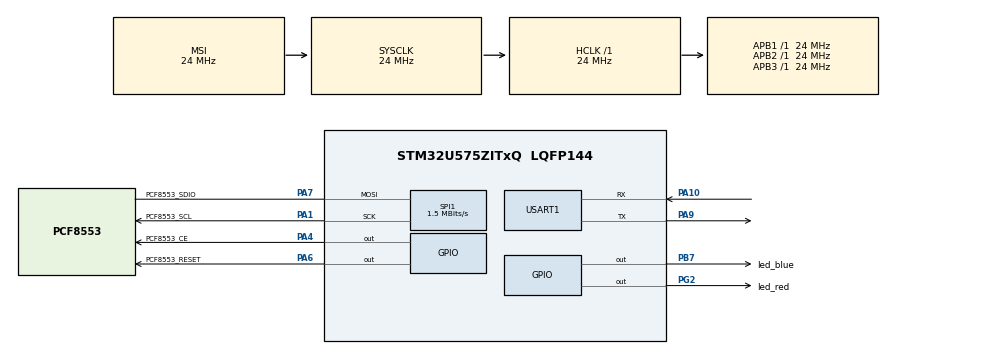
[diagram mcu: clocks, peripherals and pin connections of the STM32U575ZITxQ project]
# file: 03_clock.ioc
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CORTEX_M33_NS.userName=CORTEX_M33
Mcu.Family=STM32U5
Mcu.Name=STM32U575ZITxQ
Mcu.Package=LQFP144
NVIC.PriorityGroup=NVIC_PRIORITYGROUP_4
NVIC.TIM6_IRQn=true\:15\:0\:false\:false\:true\:false\:true\:true
NVIC.TimeBase=TIM6_IRQn
NVIC.TimeBaseIP=TIM6
PA1.GPIO_Label=PCF8553_SCL
PA1.Mode=Simplex_Bidirectional_Master
PA1.Signal=SPI1_SCK
PA10.Mode=Asynchronous
PA10.Signal=USART1_RX
PA4.GPIO_Label=PCF8553_CE
PA4.Signal=GPIO_Output
PA6.GPIO_Label=PCF8553_RESET
PA6.Signal=GPIO_Output
PA7.GPIO_Label=PCF8553_SDIO
PA7.Mode=Simplex_Bidirectional_Master
PA7.Signal=SPI1_MOSI
PA9.Mode=Asynchronous
PA9.Signal=USART1_TX
PB7.GPIO_Label=led_blue
PB7.Signal=GPIO_Output
PC14-OSC32_IN\ (PC14).Mode=LSE-External-Oscillator
PC14-OSC32_IN\ (PC14).Signal=RCC_OSC32_IN
PC15-OSC32_OUT\ (PC15).Mode=LSE-External-Oscillator
PC15-OSC32_OUT\ (PC15).Signal=RCC_OSC32_OUT
PG2.GPIO_Label=led_red
PG2.Signal=GPIO_Output
PWR.PowerMode=PWR_SMPS_SUPPLY
ProjectManager.HeapSize=0x200
ProjectManager.StackSize=0x400
ProjectManager.TargetToolchain=STM32CubeIDE
RCC.ADCFreq_Value=16000000
RCC.AHBFreq_Value=24000000
RCC.APB1Freq_Value=24000000
RCC.APB1TimFreq_Value=24000000
RCC.APB2Freq_Value=24000000
RCC.APB2TimFreq_Value=24000000
RCC.APB3Freq_Value=24000000
RCC.CortexFreq_Value=24000000
RCC.EPOD_VALUE=24000000
RCC.HCLKFreq_Value=24000000
RCC.HSE_VALUE=16000000
RCC.HSI48_VALUE=48000000
RCC.HSI_VALUE=16000000
RCC.LSIDIV_VALUE=32000
RCC.MSIClockRange=RCC_MSIRANGE_1
RCC.MSI_VALUE=24000000
RCC.SYSCLKFreq_VALUE=24000000
RCC.USBFreq_Value=48000000
RCC.VCOOutputFreq_Value=3096000000
RTC.Date=22
RTC.Format=RTC_FORMAT_BIN
RTC.Hours=9
RTC.Month=RTC_MONTH_MAY
RTC.WeekDay=RTC_WEEKDAY_MONDAY
RTC.Year=23
SPI1.BaudRatePrescaler=SPI_BAUDRATEPRESCALER_16
SPI1.CalculateBaudRate=1.5 MBits/s
SPI1.DataSize=SPI_DATASIZE_8BIT
SPI1.Direction=SPI_DIRECTION_1LINE
SPI1.Mode=SPI_MODE_MASTER
SPI1.NSSPMode=SPI_NSS_PULSE_DISABLE
SPI1.VirtualType=VM_MASTER
USART1.VirtualMode-Asynchronous=VM_ASYNC
VP_ICACHE_VS_ICACHE.Mode=DirectMappedCache
VP_PWR_VS_DBSignals.Mode=DisableDeadBatterySignals
VP_PWR_VS_LPOM.Mode=PowerOptimisation
VP_RTC_VS_RTC_Activate.Mode=RTC_Enabled
VP_RTC_VS_RTC_Calendar.Mode=RTC_Calendar
VP_SYS_VS_tim6.Mode=TIM6
board=custom

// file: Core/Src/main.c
/* USER CODE BEGIN Header */
/**
  ******************************************************************************
  * @file           : main.c
  * @brief          : Main program body
  ******************************************************************************
  * @attention
  *
  * Copyright (c) 2023 STMicroelectronics.
  * All rights reserved.
  *
  * This software is licensed under terms that can be found in the LICENSE file
  * in the root directory of this software component.
  * If no LICENSE file comes with this software, it is provided AS-IS.
  *
  ******************************************************************************
  */
/* USER CODE END Header */
#include "main.h"

/* USER CODE BEGIN Includes */
#include "string.h"
#include "stdio.h"
#include "../../lcd_libs/fm_lcd/fm_lcd.h"
#include "../../fm_calendar/fm_calendar.h"
/* USER CODE END Includes */

RTC_HandleTypeDef hrtc;

SPI_HandleTypeDef hspi1;

UART_HandleTypeDef huart1;

void SystemClock_Config(void);
static void SystemPower_Config(void);
static void MX_GPIO_Init(void);
static void MX_ICACHE_Init(void);
static void MX_RTC_Init(void);
static void MX_SPI1_Init(void);
static void MX_USART1_UART_Init(void);

int main(void)
{

  /* MCU Configuration--------------------------------------------------------*/

  /* Reset of all peripherals, Initializes the Flash interface and the Systick. */
  HAL_Init();

  /* Configure the system clock */
  SystemClock_Config();

  /* Configure the System Power */
  SystemPower_Config();

  /* Initialize all configured peripherals */
  MX_GPIO_Init();
  MX_ICACHE_Init();
  MX_RTC_Init();
  MX_SPI1_Init();
  MX_USART1_UART_Init();
  /* USER CODE BEGIN 2 */

  char date_string[20]; // @suppress("Avoid magic numbers")
  char time_string[20]; // @suppress("Avoid magic numbers")

  fm_lcd_init();
  fm_lcd_clear();

  RTC_TimeTypeDef stime_config;
  RTC_DateTypeDef sdate_config;

  int first_time = 1;

  /* USER CODE END 2 */

  /* Infinite loop */
  /* USER CODE BEGIN WHILE */
  while (1)
  {
      if(first_time == 1)
      {
          sdate_config.Date = 29;
          sdate_config.Month = 5;
          sdate_config.Year = 23;
          sdate_config.WeekDay = RTC_WEEKDAY_FRIDAY;

          fm_calendar_modify_date(sdate_config);

          stime_config.Hours = 12;
          stime_config.Minutes = 36;
          stime_config.Seconds = 1;
          stime_config.SecondFraction = 0;
          stime_config.DayLightSaving = RTC_DAYLIGHTSAVING_NONE;
          stime_config.StoreOperation = RTC_STOREOPERATION_RESET;
          stime_config.SubSeconds = 0;
          stime_config.TimeFormat = RTC_HOURFORMAT12_AM;

          fm_calendar_modify_time(stime_config);

          first_time = 0;
      }

      fm_calendar_format_time(time_string, strlen(time_string));
      fm_calendar_format_date(date_string, strlen(date_string));

      fm_lcd_puts_rows(date_string, HIGH_ROW);
      fm_lcd_puts_rows(time_string, LOW_ROW);

      lcd_set_point(HIGH_ROW, PNT_3);
      lcd_set_point(HIGH_ROW, PNT_1);
      lcd_set_point(LOW_ROW, PNT_3);
      lcd_set_point(LOW_ROW, PNT_1);

      fm_lcd_refresh();

      HAL_Delay(1000); // @suppress("Avoid magic numbers")

    /* USER CODE END WHILE */

  }
}

void SystemClock_Config(void)
{
  RCC_OscInitTypeDef RCC_OscInitStruct = {0};
  RCC_ClkInitTypeDef RCC_ClkInitStruct = {0};

  /** Configure the main internal regulator output voltage
  */
  if (HAL_PWREx_ControlVoltageScaling(PWR_REGULATOR_VOLTAGE_SCALE4) != HAL_OK)
  {
    Error_Handler();
  }

  /** Initializes the CPU, AHB and APB buses clocks
  */
  RCC_OscInitStruct.OscillatorType = RCC_OSCILLATORTYPE_LSI|RCC_OSCILLATORTYPE_MSI;
  RCC_OscInitStruct.LSIState = RCC_LSI_ON;
  RCC_OscInitStruct.MSIState = RCC_MSI_ON;
  RCC_OscInitStruct.MSICalibrationValue = RCC_MSICALIBRATION_DEFAULT;
  RCC_OscInitStruct.MSIClockRange = RCC_MSIRANGE_1;
  RCC_OscInitStruct.LSIDiv = RCC_LSI_DIV1;
  RCC_OscInitStruct.PLL.PLLState = RCC_PLL_NONE;
  if (HAL_RCC_OscConfig(&RCC_OscInitStruct) != HAL_OK)
  {
    Error_Handler();
  }

  /** Initializes the CPU, AHB and APB buses clocks
  */
  RCC_ClkInitStruct.ClockType = RCC_CLOCKTYPE_HCLK|RCC_CLOCKTYPE_SYSCLK
                              |RCC_CLOCKTYPE_PCLK1|RCC_CLOCKTYPE_PCLK2
                              |RCC_CLOCKTYPE_PCLK3;
  RCC_ClkInitStruct.SYSCLKSource = RCC_SYSCLKSOURCE_MSI;
  RCC_ClkInitStruct.AHBCLKDivider = RCC_SYSCLK_DIV1;
  RCC_ClkInitStruct.APB1CLKDivider = RCC_HCLK_DIV1;
  RCC_ClkInitStruct.APB2CLKDivider = RCC_HCLK_DIV1;
  RCC_ClkInitStruct.APB3CLKDivider = RCC_HCLK_DIV1;

  if (HAL_RCC_ClockConfig(&RCC_ClkInitStruct, FLASH_LATENCY_1) != HAL_OK)
  {
    Error_Handler();
  }
}

/**
  * @brief Power Configuration
  * @retval None
  */
static void SystemPower_Config(void)
{
  HAL_PWREx_EnableVddIO2();

  /*
   * Disable the internal Pull-Up in Dead Battery pins of UCPD peripheral
   */
  HAL_PWREx_DisableUCPDDeadBattery();

  /*
   * Switch to SMPS regulator instead of LDO
   */
  if (HAL_PWREx_ConfigSupply(PWR_SMPS_SUPPLY) != HAL_OK)
  {
    Error_Handler();
  }
}

static void MX_ICACHE_Init(void)
{

  /** Enable instruction cache in 1-way (direct mapped cache)
  */
  if (HAL_ICACHE_ConfigAssociativityMode(ICACHE_1WAY) != HAL_OK)
  {
    Error_Handler();
  }
  if (HAL_ICACHE_Enable() != HAL_OK)
  {
    Error_Handler();
  }

}

static void MX_RTC_Init(void)
{

  RTC_PrivilegeStateTypeDef privilegeState = {0};
  RTC_TimeTypeDef sTime = {0};
  RTC_DateTypeDef sDate = {0};

  /** Initialize RTC Only
  */
  hrtc.Instance = RTC;
  hrtc.Init.HourFormat = RTC_HOURFORMAT_24;
  hrtc.Init.AsynchPrediv = 127;
  hrtc.Init.SynchPrediv = 255;
  hrtc.Init.OutPut = RTC_OUTPUT_DISABLE;
  hrtc.Init.OutPutRemap = RTC_OUTPUT_REMAP_NONE;
  hrtc.Init.OutPutPolarity = RTC_OUTPUT_POLARITY_HIGH;
  hrtc.Init.OutPutType = RTC_OUTPUT_TYPE_OPENDRAIN;
  hrtc.Init.OutPutPullUp = RTC_OUTPUT_PULLUP_NONE;
  hrtc.Init.BinMode = RTC_BINARY_NONE;
  if (HAL_RTC_Init(&hrtc) != HAL_OK)
  {
    Error_Handler();
  }
  privilegeState.rtcPrivilegeFull = RTC_PRIVILEGE_FULL_NO;
  privilegeState.backupRegisterPrivZone = RTC_PRIVILEGE_BKUP_ZONE_NONE;
  privilegeState.backupRegisterStartZone2 = RTC_BKP_DR0;
  privilegeState.backupRegisterStartZone3 = RTC_BKP_DR0;
  if (HAL_RTCEx_PrivilegeModeSet(&hrtc, &privilegeState) != HAL_OK)
  {
    Error_Handler();
  }

  /** Initialize RTC and set the Time and Date
  */
  sTime.Hours = 9;
  sTime.Minutes = 0;
  sTime.Seconds = 0;
  sTime.DayLightSaving = RTC_DAYLIGHTSAVING_NONE;
  sTime.StoreOperation = RTC_STOREOPERATION_RESET;
  if (HAL_RTC_SetTime(&hrtc, &sTime, RTC_FORMAT_BIN) != HAL_OK)
  {
    Error_Handler();
  }
  sDate.WeekDay = RTC_WEEKDAY_MONDAY;
  sDate.Month = RTC_MONTH_MAY;
  sDate.Date = 22;
  sDate.Year = 23;

  if (HAL_RTC_SetDate(&hrtc, &sDate, RTC_FORMAT_BIN) != HAL_OK)
  {
    Error_Handler();
  }

}

static void MX_SPI1_Init(void)
{

  SPI_AutonomousModeConfTypeDef HAL_SPI_AutonomousMode_Cfg_Struct = {0};

  /* SPI1 parameter configuration*/
  hspi1.Instance = SPI1;
  hspi1.Init.Mode = SPI_MODE_MASTER;
  hspi1.Init.Direction = SPI_DIRECTION_1LINE;
  hspi1.Init.DataSize = SPI_DATASIZE_8BIT;
  hspi1.Init.CLKPolarity = SPI_POLARITY_LOW;
  hspi1.Init.CLKPhase = SPI_PHASE_1EDGE;
  hspi1.Init.NSS = SPI_NSS_SOFT;
  hspi1.Init.BaudRatePrescaler = SPI_BAUDRATEPRESCALER_16;
  hspi1.Init.FirstBit = SPI_FIRSTBIT_MSB;
  hspi1.Init.TIMode = SPI_TIMODE_DISABLE;
  hspi1.Init.CRCCalculation = SPI_CRCCALCULATION_DISABLE;
  hspi1.Init.CRCPolynomial = 0x7;
  hspi1.Init.NSSPMode = SPI_NSS_PULSE_DISABLE;
  hspi1.Init.NSSPolarity = SPI_NSS_POLARITY_LOW;
  hspi1.Init.FifoThreshold = SPI_FIFO_THRESHOLD_01DATA;
  hspi1.Init.MasterSSIdleness = SPI_MASTER_SS_IDLENESS_00CYCLE;
  hspi1.Init.MasterInterDataIdleness = SPI_MASTER_INTERDATA_IDLENESS_00CYCLE;
  hspi1.Init.MasterReceiverAutoSusp = SPI_MASTER_RX_AUTOSUSP_DISABLE;
  hspi1.Init.MasterKeepIOState = SPI_MASTER_KEEP_IO_STATE_DISABLE;
  hspi1.Init.IOSwap = SPI_IO_SWAP_DISABLE;
  hspi1.Init.ReadyMasterManagement = SPI_RDY_MASTER_MANAGEMENT_INTERNALLY;
  hspi1.Init.ReadyPolarity = SPI_RDY_POLARITY_HIGH;
  if (HAL_SPI_Init(&hspi1) != HAL_OK)
  {
    Error_Handler();
  }
  HAL_SPI_AutonomousMode_Cfg_Struct.TriggerState = SPI_AUTO_MODE_DISABLE;
  HAL_SPI_AutonomousMode_Cfg_Struct.TriggerSelection = SPI_GRP1_GPDMA_CH0_TCF_TRG;
  HAL_SPI_AutonomousMode_Cfg_Struct.TriggerPolarity = SPI_TRIG_POLARITY_RISING;
  if (HAL_SPIEx_SetConfigAutonomousMode(&hspi1, &HAL_SPI_AutonomousMode_Cfg_Struct) != HAL_OK)
  {
    Error_Handler();
  }

}

static void MX_USART1_UART_Init(void)
{

  huart1.Instance = USART1;
  huart1.Init.BaudRate = 115200;
  huart1.Init.WordLength = UART_WORDLENGTH_8B;
  huart1.Init.StopBits = UART_STOPBITS_1;
  huart1.Init.Parity = UART_PARITY_NONE;
  huart1.Init.Mode = UART_MODE_TX_RX;
  huart1.Init.HwFlowCtl = UART_HWCONTROL_NONE;
  huart1.Init.OverSampling = UART_OVERSAMPLING_16;
  huart1.Init.OneBitSampling = UART_ONE_BIT_SAMPLE_DISABLE;
  huart1.Init.ClockPrescaler = UART_PRESCALER_DIV1;
  huart1.AdvancedInit.AdvFeatureInit = UART_ADVFEATURE_NO_INIT;
  if (HAL_UART_Init(&huart1) != HAL_OK)
  {
    Error_Handler();
  }
  if (HAL_UARTEx_SetTxFifoThreshold(&huart1, UART_TXFIFO_THRESHOLD_1_8) != HAL_OK)
  {
    Error_Handler();
  }
  if (HAL_UARTEx_SetRxFifoThreshold(&huart1, UART_RXFIFO_THRESHOLD_1_8) != HAL_OK)
  {
    Error_Handler();
  }
  if (HAL_UARTEx_DisableFifoMode(&huart1) != HAL_OK)
  {
    Error_Handler();
  }

}

static void MX_GPIO_Init(void)
{
  GPIO_InitTypeDef GPIO_InitStruct = {0};

  /* GPIO Ports Clock Enable */
  __HAL_RCC_GPIOC_CLK_ENABLE();
  __HAL_RCC_GPIOA_CLK_ENABLE();
  __HAL_RCC_GPIOG_CLK_ENABLE();
  __HAL_RCC_GPIOB_CLK_ENABLE();

  /*Configure GPIO pin Output Level */
  HAL_GPIO_WritePin(GPIOA, PCF8553_CE_Pin|PCF8553_RESET_Pin, GPIO_PIN_RESET);

  /*Configure GPIO pin Output Level */
  HAL_GPIO_WritePin(led_red_GPIO_Port, led_red_Pin, GPIO_PIN_RESET);

  /*Configure GPIO pin Output Level */
  HAL_GPIO_WritePin(led_blue_GPIO_Port, led_blue_Pin, GPIO_PIN_RESET);

  /*Configure GPIO pins : PCF8553_CE_Pin PCF8553_RESET_Pin */
  GPIO_InitStruct.Pin = PCF8553_CE_Pin|PCF8553_RESET_Pin;
  GPIO_InitStruct.Mode = GPIO_MODE_OUTPUT_PP;
  GPIO_InitStruct.Pull = GPIO_NOPULL;
  GPIO_InitStruct.Speed = GPIO_SPEED_FREQ_LOW;
  HAL_GPIO_Init(GPIOA, &GPIO_InitStruct);

  /*Configure GPIO pin : led_red_Pin */
  GPIO_InitStruct.Pin = led_red_Pin;
  GPIO_InitStruct.Mode = GPIO_MODE_OUTPUT_PP;
  GPIO_InitStruct.Pull = GPIO_NOPULL;
  GPIO_InitStruct.Speed = GPIO_SPEED_FREQ_LOW;
  HAL_GPIO_Init(led_red_GPIO_Port, &GPIO_InitStruct);

  /*Configure GPIO pin : led_blue_Pin */
  GPIO_InitStruct.Pin = led_blue_Pin;
  GPIO_InitStruct.Mode = GPIO_MODE_OUTPUT_PP;
  GPIO_InitStruct.Pull = GPIO_NOPULL;
  GPIO_InitStruct.Speed = GPIO_SPEED_FREQ_LOW;
  HAL_GPIO_Init(led_blue_GPIO_Port, &GPIO_InitStruct);

}

void HAL_TIM_PeriodElapsedCallback(TIM_HandleTypeDef *htim)
{
  if (htim->Instance == TIM6) {
    HAL_IncTick();
  }
}

void Error_Handler(void)
{
  __disable_irq();
  while (1)
  {
  }
}
